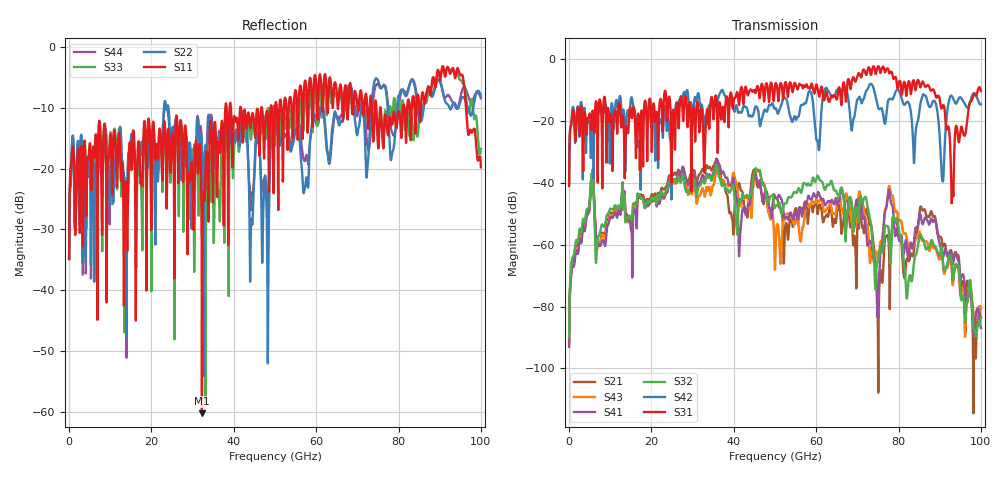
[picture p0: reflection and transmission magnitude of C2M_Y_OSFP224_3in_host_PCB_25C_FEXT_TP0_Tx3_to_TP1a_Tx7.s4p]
# GHz S RI R 45
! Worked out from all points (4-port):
!   4000 points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, 25 MHz to 100 GHz, reference 45 ohm
!   strongest paths, dB at 25 MHz, 25.02 GHz, 50.02 GHz, 75.03 GHz, 100 GHz:
!     S31: -41.0, -23.5, -8.5, -2.3, -10.3
!     S42: -40.4, -26.7, -15.9, -15.6, -14.6
!     S32: -90.1, -39.0, -48.0, -65.5, -83.6
!     S41: -93.0, -38.7, -44.6, -81.6, -86.9
!     S43: -92.1, -40.1, -67.4, -64.3, -80.7
!     S21: -91.5, -36.9, -44.7, -91.0, -83.6
!   lowest |S11| = -60.1 dB at 32.27 GHz (marker M1), VSWR 1.00, Z = 45.1 + j0.0313 ohm
!   |S11| at or under -10 dB: start of sweep to 37.96 GHz; 41.71 GHz to 46.69 GHz (4.98 GHz wide, 11.3 % of centre); 75.63 GHz to 81.08 GHz (5.451 GHz wide, 6.96 % of centre) (the widest 3 of 33)
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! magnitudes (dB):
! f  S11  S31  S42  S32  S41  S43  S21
! 25 MHz  -34.8  -41.0  -40.4  -90.1  -93.0  -92.1  -91.5
! 5.575 GHz  -22.2  -19.1  -19.6  -41.0  -40.9  -40.9  -40.9
! 32.27 GHz  -60.1  -16.9  -14.9  -39.4  -37.8  -41.9  -35.7
! 76.25 GHz  -16.4  -2.4  -17.7  -61.3  -56.9  -55.8  -69.2
! 90.67 GHz  -3.2  -15.3  -39.4  -63.8  -64.1  -64.6  -60.2
! 93.08 GHz  -3.6  -42.5  -12.2  -69.8  -66.0  -71.8  -64.6
! 100 GHz  -19.8  -10.3  -14.6  -83.6  -86.9  -80.7  -83.6
